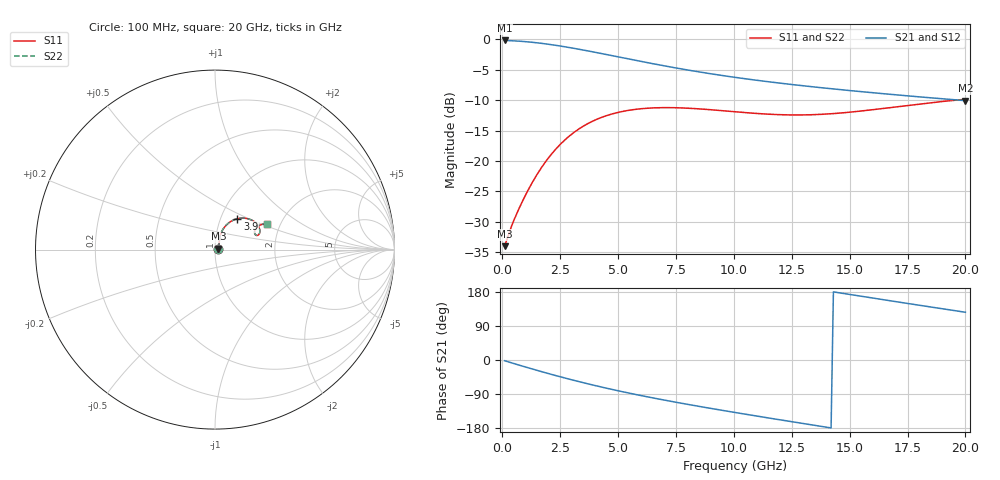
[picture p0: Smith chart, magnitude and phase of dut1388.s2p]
! Touchstone file exported from HFSS 2024.1.0
!  File:  C:/UserFiles/LocalFiles/RDL_TSV_Batchsim/temp_RDL_TSV_1388_1780403031.aedt
!  Generated:  08:39:55 PM Jun  2, 2026
!  Design:  RDL_TSV
!  Project:  temp_RDL_TSV_1388_1780403031
!  Setup:  Setup1
!  Solution:  Sweep
! Variables:
!  dtsv = 6.19um
!  hbump = 3um
!  htsv = 79.15um
!  ldown = 444.23um
!  lrdl = 527.81um
!  p = 40
!  p1 = 49.73um
!  rhole = 10um
!  subl = 3443.93um
!  t = 450um
!  tdown = 3.46um
!  trdl = 2.92um
!  viad = 10um
!  wdown = 17.8um
!  wrdl = 26.52um
!  xbump = 18um
# GHz S MA R 50.000000
! Terminal data exported
! Port[1] = TM1_1_T1
! Port[2] = TM1_4_T1
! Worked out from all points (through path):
!   200 points, 100 MHz to 20 GHz, reference 50 ohm
!   highest |S21| = -0.17 dB at 100 MHz (marker M1); lowest = -10.1 dB at 20 GHz (marker M2)
!   group delay of S21, straight-line fit = 30.9 ps
!   lowest |S11| = -34.1 dB at 100 MHz (marker M3), VSWR 1.04, Z = 51.9 + j0.575 ohm
!   |S11| at or under -10 dB: start of sweep to 19.59 GHz
!   |S22| runs from -34.1 to -9.8 dB; largest |S21 - S12| = 8.7e-15
!   S11 on the Smith chart (normalised r, x): 100 MHz: 1.04, +0.01; 3.9 GHz: 1.20, +0.43; 20 GHz: 1.71, +0.54
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0.1  0.01983 16.2  0.9808 -1.9  0.9808 -1.9  0.01983 16.2
! Gamma 0 0 0 0
! Port Impedance 50 0 50 0
0.4  0.02902 42.3  0.9756 -7.6  0.9756 -7.6  0.02902 42.3
0.7  0.03962 55.0  0.9683 -13.0  0.9683 -13.0  0.03962 55.0
1.1  0.05673 64.6  0.9552 -20.3  0.9552 -20.3  0.05672 64.7
1.6  0.08279 69.3  0.9334 -29.1  0.9334 -29.1  0.08278 69.3
2  0.1062 69.4  0.9124 -35.9  0.9124 -35.9  0.1061 69.5
2.5  0.1365 67.0  0.8829 -44.3  0.8829 -44.3  0.1365 67.0
3  0.1661 63.0  0.851 -52.3  0.851 -52.3  0.1661 63.0
3.5  0.1931 58.2  0.8178 -59.9  0.8178 -59.9  0.1932 58.2
3.9  0.2121 54.1  0.7909 -65.9  0.7909 -65.9  0.2122 54.2
4.6  0.239 47.2  0.7445 -75.8  0.7445 -75.8  0.2391 47.2
5.4  0.2596 39.8  0.694 -86.4  0.694 -86.4  0.2598 39.9
6.1  0.2698 34.2  0.6531 -95.2  0.6531 -95.2  0.27 34.3
6.8  0.2741 29.5  0.6158 -103.5  0.6158 -103.5  0.2743 29.5
8.4  0.2688 21.8  0.544 -121.4  0.544 -121.4  0.269 21.9
10.1  0.2532 18.6  0.4857 -139.0  0.4857 -139.0  0.2535 18.7
11.7  0.2412 19.6  0.4432 -155.0  0.4432 -155.0  0.2415 19.7
13.4  0.2399 23.2  0.4073 -171.6  0.4073 -171.6  0.2403 23.4
15  0.2516 26.7  0.3793 173.0  0.3793 173.0  0.2521 26.9
16.7  0.2738 28.5  0.3539 156.8  0.3539 156.8  0.2745 28.7
18.4  0.2995 28.1  0.3317 140.8  0.3317 140.8  0.3002 28.2
20  0.3215 26.0  0.3134 126.0  0.3134 126.0  0.3223 26.2
